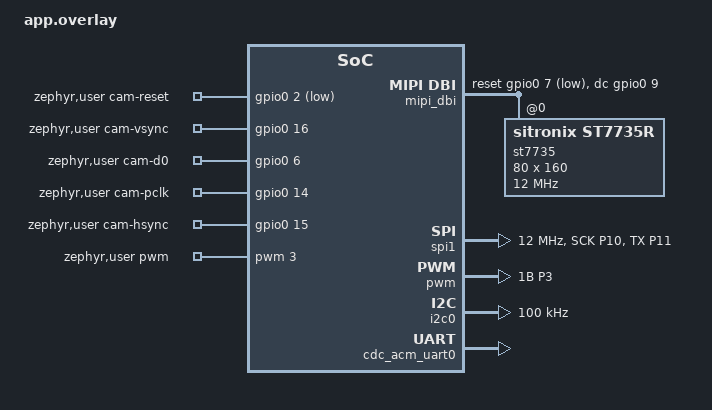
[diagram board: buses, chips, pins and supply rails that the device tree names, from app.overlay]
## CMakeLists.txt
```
# Copyright (c) 2026 Eoin Jordan
# SPDX-License-Identifier: Apache-2.0
#
# ExecuTorch digit recognition on the Arducam Pico4ML-BLE (RP2040, Cortex-M0+)
# under Zephyr. Same structure as the upstream zephyr/samples/hello-executorch
# sample: model embedded as a const array, only the operators in the .pte are
# linked.

cmake_minimum_required(VERSION 3.24)

set(CMAKE_SKIP_INSTALL_RULES ON CACHE BOOL "" FORCE)

set(ET_PTE_FILE_PATH
    "${CMAKE_CURRENT_SOURCE_DIR}/model/mnist_tiny.pte"
    CACHE FILEPATH "Path to the ExecuTorch .pte model to embed"
)
if(NOT IS_ABSOLUTE "${ET_PTE_FILE_PATH}")
  get_filename_component(
    ET_PTE_FILE_PATH "${ET_PTE_FILE_PATH}" ABSOLUTE BASE_DIR
    "${CMAKE_CURRENT_SOURCE_DIR}"
  )
endif()
if(NOT EXISTS "${ET_PTE_FILE_PATH}")
  message(FATAL_ERROR "Model not found at ET_PTE_FILE_PATH=${ET_PTE_FILE_PATH}. "
                      "Run train/train_mnist.py first or pass -DET_PTE_FILE_PATH=<file>.")
endif()

find_package(Zephyr REQUIRED HINTS $ENV{ZEPHYR_BASE})
project(executorch_pico4ml)

find_package(Python3 COMPONENTS Interpreter REQUIRED)

set(CMAKE_CXX_FLAGS
    "${CMAKE_CXX_FLAGS} -Wall -Wno-switch -Wno-float-conversion -ffunction-sections -fdata-sections"
)

if(NOT DEFINED EXECUTORCH_DIR)
  if(DEFINED ZEPHYR_EXECUTORCH_MODULE_DIR)
    set(EXECUTORCH_DIR ${ZEPHYR_EXECUTORCH_MODULE_DIR})
  else()
    message(FATAL_ERROR "ExecuTorch Zephyr module not found. Check west.yml and run west update.")
  endif()
endif()
message(STATUS "EXECUTORCH_DIR=${EXECUTORCH_DIR}")

include(${EXECUTORCH_DIR}/tools/cmake/Utils.cmake)
include(${EXECUTORCH_DIR}/backends/arm/cmake/ArmRunnerUtils.cmake)

if(NOT TARGET portable_kernels)
  set(EXECUTORCH_PORTABLE_BUILD_KERNELS_ONLY ON)
  add_subdirectory(
    ${EXECUTORCH_DIR}/kernels/portable
    ${CMAKE_CURRENT_BINARY_DIR}/executorch/kernels/portable
  )
  unset(EXECUTORCH_PORTABLE_BUILD_KERNELS_ONLY)
endif()

set(_selected_ops_libs)

arm_runner_create_selected_ops_lib(
  LIB_NAME "pico4ml_portable_ops_lib"
  FUNCTIONS_YAML "${EXECUTORCH_DIR}/kernels/portable/functions.yaml"
  OPS_FROM_MODEL "${ET_PTE_FILE_PATH}"
  KERNEL_LIBS portable_kernels
  DEPS executorch
  DTYPE_SELECTIVE_BUILD ""
)
list(APPEND _selected_ops_libs pico4ml_portable_ops_lib)

if(TARGET cortex_m_kernels)
  arm_runner_create_selected_ops_lib(
    LIB_NAME "pico4ml_cortex_m_ops_lib"
    CUSTOM_OPS_YAML "${EXECUTORCH_DIR}/backends/cortex_m/ops/operators.yaml"
    OPS_FROM_MODEL "${ET_PTE_FILE_PATH}"
    KERNEL_LIBS cortex_m_kernels
    DEPS executorch
  )
  list(APPEND _selected_ops_libs pico4ml_cortex_m_ops_lib)
endif()

set(_local_flatcc_root ${CMAKE_BINARY_DIR}/flatcc_src)
if(NOT EXISTS ${_local_flatcc_root}/CMakeLists.txt)
  file(MAKE_DIRECTORY ${_local_flatcc_root})
  execute_process(
    COMMAND ${CMAKE_COMMAND} -E copy_directory
            ${EXECUTORCH_DIR}/third-party/flatcc ${_local_flatcc_root}
  )
endif()
set(EXECUTORCH_FLATCC_SOURCE_ROOT ${_local_flatcc_root} CACHE PATH "" FORCE)
set(EXECUTORCH_FLATCC_INSTALL_ROOT ${_local_flatcc_root} CACHE PATH "" FORCE)

set(_model_pte_header ${CMAKE_CURRENT_BINARY_DIR}/model_pte.h)
add_custom_command(
  OUTPUT ${_model_pte_header}
  COMMAND ${Python3_EXECUTABLE} ${CMAKE_CURRENT_SOURCE_DIR}/scripts/pte_to_header.py
          --pte ${ET_PTE_FILE_PATH} --out ${_model_pte_header}
  DEPENDS ${ET_PTE_FILE_PATH} ${CMAKE_CURRENT_SOURCE_DIR}/scripts/pte_to_header.py
  COMMENT "Converting ${ET_PTE_FILE_PATH} to model_pte.h"
)
add_custom_target(gen_model_header DEPENDS ${_model_pte_header})
add_dependencies(app gen_model_header)

# The ExecuTorch module's runtime includes <zephyr/kernel.h>, which needs
# Zephyr's generated headers. Order it explicitly so a parallel build does not
# compile it before they exist.
if(TARGET zephyr_generated_headers)
  foreach(_t executorch_core executorch portable_kernels kernels_util_all_deps cortex_m_kernels)
    if(TARGET ${_t})
      add_dependencies(${_t} zephyr_generated_headers)
    endif()
  endforeach()
endif()

target_sources(app PRIVATE src/main.cpp)
target_sources_ifdef(CONFIG_APP_CAMERA app PRIVATE src/camera.c)
target_sources_ifdef(CONFIG_APP_SCREEN app PRIVATE src/screen.c)
target_sources_ifdef(CONFIG_APP_IMU app PRIVATE src/imu.c)


target_compile_definitions(
  app PRIVATE
  APP_METHOD_ALLOCATOR_POOL_SIZE=${CONFIG_EXECUTORCH_METHOD_ALLOCATOR_POOL_SIZE}
  APP_TEMP_ALLOCATOR_POOL_SIZE=${CONFIG_EXECUTORCH_TEMP_ALLOCATOR_POOL_SIZE}
)

target_link_libraries(app PRIVATE libexecutorch ${_selected_ops_libs})
target_include_directories(app PRIVATE src ${CMAKE_CURRENT_BINARY_DIR})
```

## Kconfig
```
# Copyright (c) 2026 Eoin Jordan
# SPDX-License-Identifier: Apache-2.0

mainmenu "ExecuTorch digit recognition on the Arducam Pico4ML-BLE"

config EXECUTORCH_METHOD_ALLOCATOR_POOL_SIZE
	int "ExecuTorch method allocator pool (bytes)"
	default 65536

config EXECUTORCH_TEMP_ALLOCATOR_POOL_SIZE
	int "ExecuTorch temp allocator pool (bytes)"
	default 8192

config APP_CAMERA
	bool "Classify frames from the HM01B0 camera"
	default y
	select PIO_RPI_PICO
	select PICOSDK_USE_PIO
	select PICOSDK_USE_DMA
	select PICOSDK_USE_GPIO
	select PICOSDK_USE_CLAIM
	select PWM
	select I2C
	help
	  Capture 162x122 (binned) grayscale frames with PIO + DMA, centre-crop,
	  downsample to 28x28, invert and normalise like MNIST, run the model
	  and show the result on the LCD.

config APP_CAM_BINNING
	bool "2x2 binning (162x122 frames instead of 324x244)"
	default y
	depends on APP_CAMERA

config APP_CAM_BIT_REVERSE
	bool "Reverse the bit order of each captured byte"
	default n
	depends on APP_CAMERA
	help
	  The HM01B0 on the Pico4ML sends each pixel MSB first, which matches
	  the PIO program, so this stays off. If the ASCII preview on the
	  console looks like random noise while "raw" spans the full range,
	  your sensor revision sends LSB first: turn this on.

config APP_CAMERA_INTERVAL_MS
	int "Delay between camera inferences (ms)"
	default 500
	depends on APP_CAMERA

config APP_SCREEN
	bool "Draw results on the ST7735 LCD"
	default y
	select DISPLAY
	select MIPI_DBI
	select SPI

config APP_IMU
	bool "Read the ICM-20948 and show tilt"
	default y
	select I2C

config APP_USB_BOOTSEL_ON_1200_BAUD
	bool "Reboot into BOOTSEL when the host opens the USB serial port at 1200 baud"
	default y
	help
	  Same convention as the pico-sdk stdio and Arduino cores, so
	  scripts/flash_pico4ml.py can reflash without touching the button.

source "Kconfig.zephyr"
```

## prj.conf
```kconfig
# Copyright (c) 2026 Eoin Jordan
# SPDX-License-Identifier: Apache-2.0

# ExecuTorch runtime, selective operator build
CONFIG_EXECUTORCH=y
CONFIG_EXECUTORCH_BUILD_PORTABLE_OPS=n
CONFIG_EXECUTORCH_ENABLE_LOGGING=y

CONFIG_CPP=y
CONFIG_STD_CPP17=y

# Cortex-M0+: no FPU, fp32 in software. Keep stacks modest, the frame buffer
# and the method pool are the big consumers of the 264 KB.
CONFIG_MAIN_STACK_SIZE=12288
CONFIG_HEAP_MEM_POOL_SIZE=16384

CONFIG_REQUIRES_FLOAT_PRINTF=y
CONFIG_PRINTK=y
CONFIG_GPIO=y

# Console on USB CDC ACM (the Pico4ML has no UART-to-USB bridge)
CONFIG_SERIAL=y
CONFIG_CONSOLE=y
CONFIG_UART_CONSOLE=y
CONFIG_UART_LINE_CTRL=y
CONFIG_USB_DEVICE_STACK_NEXT=y
CONFIG_CDC_ACM_SERIAL_INITIALIZE_AT_BOOT=y
CONFIG_CDC_ACM_SERIAL_PID=0x0004
CONFIG_CDC_ACM_SERIAL_PRODUCT_STRING="Pico4ML ExecuTorch"
```

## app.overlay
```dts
/* Copyright (c) 2026 Eoin Jordan
 * SPDX-License-Identifier: Apache-2.0
 *
 * Arducam Pico4ML-BLE on top of Zephyr's rpi_pico board:
 *   HM01B0 camera   SCCB on I2C0 (GP4 SDA, GP5 SCL) @ 0x24, RESET GP2,
 *                   XCLK GP3 (PWM 1B), VSYNC GP16, D0 GP6, PCLK GP14, HSYNC GP15
 *   ST7735S LCD     SPI1 (GP10 SCK, GP11 MOSI), CS GP13, DC GP9, RST GP7, 80x160
 *   ICM-20948 IMU   I2C0 @ 0x68
 *   Console         USB CDC ACM
 */

#include <zephyr/dt-bindings/pwm/pwm.h>

/ {
	chosen {
		zephyr,console = &cdc_acm_uart0;
		zephyr,display = &st7735;
	};

	zephyr,user {
		/* HM01B0 XCLK on GP3 = PWM slice 1 channel B = channel index 3 */
		pwms = <&pwm 3 PWM_NSEC(80) PWM_POLARITY_NORMAL>;
		cam-reset-gpios = <&gpio0 2 GPIO_ACTIVE_LOW>;
		cam-vsync-gpios = <&gpio0 16 GPIO_ACTIVE_HIGH>;
		cam-d0-gpios = <&gpio0 6 GPIO_ACTIVE_HIGH>;
		cam-pclk-gpios = <&gpio0 14 GPIO_ACTIVE_HIGH>;
		cam-hsync-gpios = <&gpio0 15 GPIO_ACTIVE_HIGH>;
	};

	mipi_dbi {
		compatible = "zephyr,mipi-dbi-spi";
		spi-dev = <&spi1>;
		dc-gpios = <&gpio0 9 GPIO_ACTIVE_HIGH>;
		reset-gpios = <&gpio0 7 GPIO_ACTIVE_LOW>;
		write-only;
		#address-cells = <1>;
		#size-cells = <0>;

		/* 0.96" 80x160 ST7735S: the panel sits at column offset 24 of the
		 * 132x162 frame memory, BGR order, 16-bit colour. */
		st7735: st7735@0 {
			compatible = "sitronix,st7735r";
			reg = <0>;
			mipi-max-frequency = <DT_FREQ_M(12)>;
			mipi-mode = "MIPI_DBI_MODE_SPI_4WIRE";
			width = <80>;
			height = <160>;
			x-offset = <24>;
			y-offset = <0>;
			madctl = <0x08>;
			colmod = <0x05>;
			caset = [00 00 00 4f];
			raset = [00 00 00 9f];
			gamctrp1 = [02 1c 07 12 37 32 29 2d 29 25 2b 39 00 01 03 10];
			gamctrn1 = [03 1d 07 06 2e 2c 29 2d 2e 2e 37 3f 00 00 02 10];
		};
	};
};

&pinctrl {
	spi1_lcd: spi1_lcd {
		group1 {
			pinmux = <SPI1_SCK_P10>, <SPI1_TX_P11>;
		};
	};

	pwm_xclk: pwm_xclk {
		group1 {
			pinmux = <PWM_1B_P3>;
		};
	};
};

&spi1 {
	status = "okay";
	pinctrl-0 = <&spi1_lcd>;
	pinctrl-names = "default";
	clock-frequency = <DT_FREQ_M(12)>;
	cs-gpios = <&gpio0 13 GPIO_ACTIVE_LOW>;
};

&pwm {
	status = "okay";
	pinctrl-0 = <&pwm_xclk>;
	pinctrl-names = "default";
	/* slice 1 runs at the 125 MHz system clock: 10 cycles = 12.5 MHz XCLK */
	divider-int-1 = <1>;
};

&i2c0 {
	status = "okay";
	clock-frequency = <I2C_BITRATE_STANDARD>;
};

&pio0 {
	status = "okay";
};

&zephyr_udc0 {
	cdc_acm_uart0: cdc_acm_uart0 {
		compatible = "zephyr,cdc-acm-uart";
	};
};
```

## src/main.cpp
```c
/* Copyright (c) 2026 Eoin Jordan
 * SPDX-License-Identifier: Apache-2.0
 *
 * ExecuTorch on the Arducam Pico4ML-BLE (RP2040) under Zephyr.
 *
 * 1. Load the .pte embedded in flash and run the MNIST test image baked into
 *    test_input.h; compare with the PyTorch logits (SELF-TEST PASS/FAIL).
 * 2. Grab frames from the HM01B0, squash them to 28x28, classify, and show
 *    the crop, the digit and the confidence on the ST7735, plus the IMU tilt.
 * 3. Print one JSON line per inference on the USB serial console.
 */

#include <executorch/extension/data_loader/buffer_data_loader.h>
#include <executorch/runtime/core/memory_allocator.h>
#include <executorch/runtime/core/span.h>
#include <executorch/runtime/executor/memory_manager.h>
#include <executorch/runtime/executor/method.h>
#include <executorch/runtime/executor/program.h>
#include <executorch/runtime/platform/log.h>
#include <executorch/runtime/platform/runtime.h>

#include <zephyr/drivers/uart.h>
#include <zephyr/kernel.h>
#include <zephyr/sys/printk.h>
#include <zephyr/version.h>

#include <cmath>
#include <cstdint>
#include <cstdio>
#include <cstring>
#include <vector>

#include "model_pte.h"
#include "test_input.h"
#ifdef CONFIG_APP_CAMERA
#include "camera.h"
#endif
#ifdef CONFIG_APP_IMU
#include "imu.h"
#endif
#ifdef CONFIG_APP_SCREEN
#include "screen.h"
#endif
#ifdef CONFIG_APP_USB_BOOTSEL_ON_1200_BAUD
#include <pico/bootrom.h>
#endif

using executorch::aten::Tensor;
using executorch::aten::TensorImpl;
using executorch::extension::BufferDataLoader;
using executorch::runtime::Error;
using executorch::runtime::EValue;
using executorch::runtime::HierarchicalAllocator;
using executorch::runtime::MemoryAllocator;
using executorch::runtime::MemoryManager;
using executorch::runtime::Method;
using executorch::runtime::MethodMeta;
using executorch::runtime::Program;
using executorch::runtime::Result;
using executorch::runtime::Span;
using executorch::runtime::TensorInfo;

/* MNIST normalisation, same constants as train/model.py */
static constexpr float kMean = 0.1307f;
static constexpr float kStd = 0.3081f;
static constexpr int kSide = 28;
static constexpr size_t kNumClasses = 10;

#ifndef APP_METHOD_ALLOCATOR_POOL_SIZE
#define APP_METHOD_ALLOCATOR_POOL_SIZE (64 * 1024)
#endif
#ifndef APP_TEMP_ALLOCATOR_POOL_SIZE
#define APP_TEMP_ALLOCATOR_POOL_SIZE (8 * 1024)
#endif

alignas(16) static uint8_t method_pool[APP_METHOD_ALLOCATOR_POOL_SIZE];
alignas(16) static uint8_t temp_pool[APP_TEMP_ALLOCATOR_POOL_SIZE];

namespace {

struct Runner {
	BufferDataLoader loader{model_pte, model_pte_len};
	MemoryAllocator method_allocator{APP_METHOD_ALLOCATOR_POOL_SIZE, method_pool};
	MemoryAllocator temp_allocator{APP_TEMP_ALLOCATOR_POOL_SIZE, temp_pool};
	std::vector<Span<uint8_t>> planned_spans;
	Program *program = nullptr;
	Method *method = nullptr;
	float *input = nullptr;
	size_t input_numel = 0;
	Tensor *input_tensor = nullptr;

	Error init();
	Error run(const float *pixels, float *logits, uint32_t *us);
};

Error Runner::init()
{
	Result<Program> program_res = Program::load(&loader);
	if (!program_res.ok()) {
		ET_LOG(Error, "Program::load failed: 0x%x", (unsigned)program_res.error());
		return program_res.error();
	}
	program = new Program(std::move(program_res.get()));

	const char *method_name = program->get_method_name(0).get();
	Result<MethodMeta> meta = program->method_meta(method_name);
	if (!meta.ok()) {
		return meta.error();
	}

	for (size_t id = 0; id < meta->num_memory_planned_buffers(); ++id) {
		size_t size = static_cast<size_t>(meta->memory_planned_buffer_size(id).get());
		uint8_t *buf = static_cast<uint8_t *>(method_allocator.allocate(size, 16));
		if (buf == nullptr) {
			ET_LOG(Error, "planned buffer %zu (%zu B) does not fit the method pool", id, size);
			return Error::MemoryAllocationFailed;
		}
		ET_LOG(Info, "planned buffer %zu: %zu bytes", id, size);
		planned_spans.push_back({buf, size});
	}

	static HierarchicalAllocator planned_memory({planned_spans.data(), planned_spans.size()});
	static MemoryManager memory_manager(&method_allocator, &planned_memory, &temp_allocator);

	Result<Method> method_res = program->load_method(method_name, &memory_manager);
	if (!method_res.ok()) {
		ET_LOG(Error, "load_method(%s) failed: 0x%x", method_name, (unsigned)method_res.error());
		return method_res.error();
	}
	method = new Method(std::move(method_res.get()));

	Result<TensorInfo> in_meta = meta->input_tensor_meta(0);
	if (!in_meta.ok()) {
		return in_meta.error();
	}
	input_numel = in_meta->nbytes() / sizeof(float);
	input = static_cast<float *>(method_allocator.allocate(in_meta->nbytes(), 16));
	if (input == nullptr) {
		return Error::MemoryAllocationFailed;
	}
	static TensorImpl impl(
		in_meta->scalar_type(), in_meta->sizes().size(),
		const_cast<TensorImpl::SizesType *>(in_meta->sizes().data()), input,
		const_cast<TensorImpl::DimOrderType *>(in_meta->dim_order().data()));
	static Tensor tensor(&impl);
	input_tensor = &tensor;

	ET_LOG(Info, "method '%s' loaded; input numel %zu; pool used %zu / %zu bytes", method_name,
	       input_numel, method_allocator.used_size(), method_allocator.size());
	return Error::Ok;
}

Error Runner::run(const float *pixels, float *logits, uint32_t *us)
{
	std::memcpy(input, pixels, input_numel * sizeof(float));
	Error err = method->set_input(EValue(*input_tensor), 0);
	if (err != Error::Ok) {
		ET_LOG(Error, "set_input failed: 0x%x", (unsigned)err);
		return err;
	}
	uint32_t t0 = k_cycle_get_32();
	err = method->execute();
	uint32_t t1 = k_cycle_get_32();
	if (err != Error::Ok) {
		ET_LOG(Error, "execute failed: 0x%x", (unsigned)err);
		return err;
	}
	*us = k_cyc_to_us_floor32(t1 - t0);

	const EValue &out = method->get_output(0);
	if (!out.isTensor()) {
		return Error::InvalidState;
	}
	const float *data = out.toTensor().const_data_ptr<float>();
	for (size_t i = 0; i < kNumClasses; ++i) {
		logits[i] = data[i];
	}
	return Error::Ok;
}

int argmax_pct(const float *logits, int *pct)
{
	int best = 0;
	float m = logits[0];
	for (size_t i = 1; i < kNumClasses; ++i) {
		if (logits[i] > m) {
			m = logits[i];
			best = (int)i;
		}
	}
	float sum = 0.f;
	for (size_t i = 0; i < kNumClasses; ++i) {
		sum += expf(logits[i] - m);
	}
	*pct = (int)lroundf(100.f / sum);
	return best;
}

/* Undo the MNIST normalisation so the embedded test image can be shown. */
void input_to_gray(const float *in, uint8_t *gray)
{
	for (int i = 0; i < kSide * kSide; ++i) {
		float v = (in[i] * kStd + kMean) * 255.f;
		gray[i] = (uint8_t)(v < 0.f ? 0.f : v > 255.f ? 255.f : v);
	}
}

void ascii_preview(const uint8_t *gray)
{
	static const char ramp[] = " .:-=+*#%@";
	for (int y = 0; y < kSide; ++y) {
		char line[kSide + 1];
		for (int x = 0; x < kSide; ++x) {
			line[x] = ramp[gray[y * kSide + x] * 9 / 255];
		}
		line[kSide] = 0;
		printk("  %s\n", line);
	}
}

#ifdef CONFIG_APP_CAMERA
/* Centre square of the frame, box-averaged to 28x28, contrast-stretched so
 * paper is 0 and the darkest ink is 255 after inversion (MNIST is white
 * strokes on black), then normalised. */
void frame_to_input(const uint8_t *frame, uint8_t *gray, float *input)
{
	const int side = CAM_H < CAM_W ? CAM_H : CAM_W;
	const int box = side / kSide;
	const int x0 = (CAM_W - box * kSide) / 2;
	const int y0 = (CAM_H - box * kSide) / 2;
	unsigned lo = 255, hi = 0;
	for (int y = 0; y < kSide; ++y) {
		for (int x = 0; x < kSide; ++x) {
			unsigned sum = 0;
			for (int by = 0; by < box; ++by) {
				const uint8_t *row = frame + (y0 + y * box + by) * CAM_W + x0 + x * box;
				for (int bx = 0; bx < box; ++bx) {
					sum += row[bx];
				}
			}
			unsigned v = sum / (box * box);
			gray[y * kSide + x] = (uint8_t)v;
			lo = v < lo ? v : lo;
			hi = v > hi ? v : hi;
		}
	}
	/* Stretch, invert, and push the paper to black with a mild threshold. */
	const unsigned range = hi > lo + 16 ? hi - lo : 16;
	for (int i = 0; i < kSide * kSide; ++i) {
		int v = 255 - (int)((gray[i] - lo) * 255u / range);
		v = v < 64 ? 0 : v; /* light paper noise -> background */
		gray[i] = (uint8_t)v;
		input[i] = (v / 255.f - kMean) / kStd;
	}
}
#endif

#ifdef CONFIG_APP_SCREEN
void show(const uint8_t *gray, const char *status, uint16_t status_color, int digit, int pct,
	  const char *imu_line)
{
	char line[16];
	screen_clear(COLOR_BLACK);
	screen_text(2, 2, "ExecuTorch", COLOR_WHITE, COLOR_BLACK);
	screen_text(2, 12, status, status_color, COLOR_BLACK);
	if (gray != nullptr) {
		screen_gray(12, 24, gray, kSide, kSide, 2);
	}
	if (digit >= 0) {
		snprintf(line, sizeof(line), "digit %d", digit);
		screen_text(2, 86, line, COLOR_YELLOW, COLOR_BLACK);
		snprintf(line, sizeof(line), "%3d%%", pct);
		screen_text(52, 86, line, COLOR_WHITE, COLOR_BLACK);
		screen_bar(2, 97, 76, 5, pct, pct >= 80 ? COLOR_GREEN : COLOR_YELLOW);
	}
	if (imu_line != nullptr) {
		screen_text(2, 112, imu_line, COLOR_GREY, COLOR_BLACK);
	}
	screen_text(2, 150, "pico4ml zephyr", COLOR_GREY, COLOR_BLACK);
	screen_flush();
}
#else
void show(const uint8_t *, const char *, uint16_t, int, int, const char *)
{
}
#define COLOR_GREEN 0
#define COLOR_RED 0
#define COLOR_YELLOW 0
#endif

void maybe_reboot_to_bootsel(const struct device *console)
{
#ifdef CONFIG_APP_USB_BOOTSEL_ON_1200_BAUD
	uint32_t baud = 0;
	if (uart_line_ctrl_get(console, UART_LINE_CTRL_BAUD_RATE, &baud) == 0 && baud == 1200) {
		printk("1200 baud seen: rebooting into BOOTSEL\n");
		k_msleep(100);
		reset_usb_boot(0, 0);
	}
#else
	(void)console;
#endif
}

} // namespace

int main(void)
{
	executorch::runtime::runtime_init();

	const struct device *const console = DEVICE_DT_GET(DT_CHOSEN(zephyr_console));
	/* Give a terminal a moment to attach so the banner is not lost. */
	for (int i = 0; i < 30; ++i) {
		uint32_t dtr = 0;
		uart_line_ctrl_get(console, UART_LINE_CTRL_DTR, &dtr);
		if (dtr) {
			break;
		}
		k_msleep(100);
	}

	printk("\nExecuTorch on %s (Zephyr %s)\n", CONFIG_BOARD_TARGET, KERNEL_VERSION_STRING);
	printk("model: %u bytes in flash, method pool %u B, temp pool %u B\n",
	       (unsigned)model_pte_len, (unsigned)APP_METHOD_ALLOCATOR_POOL_SIZE,
	       (unsigned)APP_TEMP_ALLOCATOR_POOL_SIZE);

#ifdef CONFIG_APP_SCREEN
	bool screen_ok = screen_init() == 0;
	if (screen_ok) {
		show(nullptr, "loading...", COLOR_YELLOW, -1, 0, nullptr);
	}
#endif

	static Runner runner;
	if (runner.init() != Error::Ok) {
		printk("FAIL: runtime init\n");
		show(nullptr, "RUNTIME FAIL", COLOR_RED, -1, 0, nullptr);
		return 1;
	}

	static uint8_t gray[kSide * kSide];
	static float input[kSide * kSide];
	float logits[kNumClasses];
	uint32_t us = 0;

	printk("\nself-test: MNIST test image, label %d\n", TEST_INPUT_LABEL);
	bool ok = runner.run(kTestInput, logits, &us) == Error::Ok;
	float diff = 0.f;
	int pct = 0;
	int pred = ok ? argmax_pct(logits, &pct) : -1;
	if (ok) {
		for (size_t i = 0; i < kNumClasses; ++i) {
			diff = fmaxf(diff, fabsf(logits[i] - kTestExpectedLogits[i]));
		}
		printk("  predicted %d (%d%%), expected %d, max|rp2040-pytorch|=%.1e, %u us\n", pred, pct,
		       TEST_INPUT_LABEL, (double)diff, us);
		ok = pred == TEST_INPUT_LABEL && diff < 1e-3f;
	}
	printk(ok ? "SELF-TEST PASS\n" : "SELF-TEST FAIL\n");
	input_to_gray(kTestInput, gray);
	show(gray, ok ? "SELF-TEST PASS" : "SELF-TEST FAIL", ok ? COLOR_GREEN : COLOR_RED, pred, pct,
	     nullptr);

	char imu_line[16] = {0};
#ifdef CONFIG_APP_IMU
	bool imu_ok = imu_init() == 0;
#endif
#ifdef CONFIG_APP_CAMERA
	bool cam_ok = camera_init() == 0;
	if (!cam_ok) {
		printk("camera: not available, staying on the self-test result\n");
	}
#endif

	uint32_t seq = 0;
	for (;;) {
		maybe_reboot_to_bootsel(console);

#ifdef CONFIG_APP_IMU
		if (imu_ok) {
			struct imu_sample s;
			if (imu_read(&s) == 0) {
				snprintf(imu_line, sizeof(imu_line), "g%+.1f%+.1f%+.1f", (double)s.ax,
					 (double)s.ay, (double)s.az);
			}
		}
#endif
#ifdef CONFIG_APP_CAMERA
		if (cam_ok) {
			const uint8_t *frame = camera_capture();
			if (frame == nullptr) {
				/* camera_capture() already said why */
			} else {
				uint8_t lo, hi, mean;
				camera_stats(frame, &lo, &hi, &mean);
				frame_to_input(frame, gray, input);
				if (runner.run(input, logits, &us) == Error::Ok) {
					pred = argmax_pct(logits, &pct);
					printk("{\"seq\":%u,\"digit\":%d,\"p\":%d,\"infer_us\":%u,\"raw\":[%u,%u,%u],"
					       "\"imu\":\"%s\"}\n",
					       seq, pred, pct, us, lo, hi, mean, imu_line);
					if (seq % 10 == 0) {
						ascii_preview(gray);
					}
					show(gray, "camera", COLOR_WHITE, pred, pct, imu_line[0] ? imu_line : nullptr);
				}
				seq++;
			}
		} else
#endif
		{
			show(gray, ok ? "SELF-TEST PASS" : "SELF-TEST FAIL", ok ? COLOR_GREEN : COLOR_RED,
			     pred, pct, imu_line[0] ? imu_line : nullptr);
		}
		k_msleep(CONFIG_APP_CAMERA_INTERVAL_MS);
	}
	return 0;
}
```

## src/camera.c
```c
/* Copyright (c) 2026 Eoin Jordan
 * SPDX-License-Identifier: Apache-2.0
 */
#include "camera.h"

#include <errno.h>
#include <string.h>

#include <zephyr/device.h>
#include <zephyr/drivers/gpio.h>
#include <zephyr/drivers/i2c.h>
#include <zephyr/drivers/misc/pio_rpi_pico/pio_rpi_pico.h>
#include <zephyr/drivers/pwm.h>
#include <zephyr/kernel.h>
#include <zephyr/sys/printk.h>

#include <hardware/dma.h>
#include <hardware/gpio.h>
#include <hardware/pio.h>
#include <hardware/pio_instructions.h>

/* pico-sdk defines pio0 as a macro, which would break DT_NODELABEL(pio0). */
#undef pio0
#undef pio1

#define HM01B0_ADDR 0x24

static const struct device *const i2c = DEVICE_DT_GET(DT_NODELABEL(i2c0));
static const struct device *const piodev = DEVICE_DT_GET(DT_NODELABEL(pio0));
static const struct pwm_dt_spec xclk = PWM_DT_SPEC_GET(DT_PATH(zephyr_user));
static const struct gpio_dt_spec reset_pin = GPIO_DT_SPEC_GET(DT_PATH(zephyr_user), cam_reset_gpios);
static const struct gpio_dt_spec vsync_pin = GPIO_DT_SPEC_GET(DT_PATH(zephyr_user), cam_vsync_gpios);
#define PIN_D0    DT_GPIO_PIN(DT_PATH(zephyr_user), cam_d0_gpios)
#define PIN_PCLK  DT_GPIO_PIN(DT_PATH(zephyr_user), cam_pclk_gpios)
#define PIN_HSYNC DT_GPIO_PIN(DT_PATH(zephyr_user), cam_hsync_gpios)

BUILD_ASSERT(PIN_PCLK == PIN_D0 + 8 && PIN_HSYNC == PIN_D0 + 9,
	     "PIO program waits on in-pin 8 (PCLK) and 9 (HSYNC) relative to D0");

static uint8_t frame[CAM_W * CAM_H];
static PIO pio;
static size_t sm;
static uint prog_offset;
static int dma_ch = -1;

struct reg {
	uint16_t addr;
	uint8_t val;
};

/* 324x244 QVGA window, 1-bit serial output, 8-bit per pixel; register
 * sequence after Arducam's RPI-Pico-Cam hm01b0_init.h. */
static const struct reg hm01b0_init[] = {
	{0x0103, 0x00}, {0x0100, 0x00}, {0x1003, 0x08}, {0x1007, 0x08}, {0x3044, 0x0A},
	{0x3045, 0x00}, {0x3047, 0x0A}, {0x3050, 0xC0}, {0x3051, 0x42}, {0x3052, 0x50},
	{0x3053, 0x00}, {0x3054, 0x03}, {0x3055, 0xF7}, {0x3056, 0xF8}, {0x3057, 0x29},
	{0x3058, 0x1F}, {0x3059, 0x1E}, {0x3064, 0x00}, {0x3065, 0x04}, {0x1000, 0x43},
	{0x1001, 0x40}, {0x1002, 0x32}, {0x0350, 0x7F}, {0x1006, 0x01}, {0x1008, 0x00},
	{0x1009, 0xA0}, {0x100A, 0x60}, {0x100B, 0x90}, {0x100C, 0x40}, {0x3022, 0x01},
	{0x1012, 0x01}, {0x2000, 0x07}, {0x2003, 0x00}, {0x2004, 0x1C}, {0x2007, 0x00},
	{0x2008, 0x58}, {0x200B, 0x00}, {0x200C, 0x7A}, {0x200F, 0x00}, {0x2010, 0xB8},
	{0x2013, 0x00}, {0x2014, 0x58}, {0x2017, 0x00}, {0x2018, 0x9B}, {0x2100, 0x01},
	{0x2101, 0x5F}, {0x2102, 0x0A}, {0x2103, 0x03}, {0x2104, 0x05}, {0x2105, 0x02},
	{0x2106, 0x14}, {0x2107, 0x02}, {0x2108, 0x03}, {0x2109, 0x03}, {0x210A, 0x00},
	{0x210B, 0x80}, {0x210C, 0x40}, {0x210D, 0x20}, {0x210E, 0x03}, {0x210F, 0x00},
	{0x2110, 0x85}, {0x2111, 0x00}, {0x2112, 0xA0}, {0x2150, 0x03}, {0x0340, 0x01},
	{0x0341, 0x7A}, {0x0342, 0x01}, {0x0343, 0x77}, {0x3010, 0x00}, {0x0383, 0x01},
	{0x0387, 0x01}, {0x0390, 0x00}, {0x3011, 0x70}, {0x3059, 0x22}, {0x3060, 0x30},
	{0x0101, 0x01}, {0x0104, 0x01},
#ifdef CONFIG_APP_CAM_BINNING
	/* 2x2 binning: 162x122 frames, a quarter of the RAM and four times the rate. */
	{0x0383, 0x03}, {0x0387, 0x03}, {0x0390, 0x03},
#endif
	{0x0100, 0x01},
};

static int reg_write(uint16_t addr, uint8_t val)
{
	uint8_t buf[3] = {(uint8_t)(addr >> 8), (uint8_t)addr, val};
	return i2c_write(i2c, buf, sizeof(buf), HM01B0_ADDR);
}

static int reg_read(uint16_t addr, uint8_t *val)
{
	uint8_t a[2] = {(uint8_t)(addr >> 8), (uint8_t)addr};
	return i2c_write_read(i2c, HM01B0_ADDR, a, sizeof(a), val, 1);
}

int camera_init(void)
{
	if (!device_is_ready(i2c) || !device_is_ready(piodev) || !pwm_is_ready_dt(&xclk) ||
	    !gpio_is_ready_dt(&reset_pin) || !gpio_is_ready_dt(&vsync_pin)) {
		printk("camera: a device is not ready\n");
		return -ENODEV;
	}

	/* XCLK: 125 MHz / 10 = 12.5 MHz, 30 % duty, like Arducam's PWM setup. */
	int ret = pwm_set_cycles(xclk.dev, xclk.channel, 10, 3, xclk.flags);
	if (ret != 0) {
		printk("camera: xclk pwm %d\n", ret);
		return ret;
	}

	gpio_pin_configure_dt(&reset_pin, GPIO_OUTPUT_ACTIVE); /* active low: held in reset */
	gpio_pin_configure_dt(&vsync_pin, GPIO_INPUT);
	k_msleep(100);
	gpio_pin_set_dt(&reset_pin, 0);
	k_msleep(100);

	uint8_t id[2] = {0, 0};
	ret = reg_read(0x0000, &id[0]);
	if (ret == 0) {
		ret = reg_read(0x0001, &id[1]);
	}
	if (ret != 0 || id[0] != 0x01 || id[1] != 0xB0) {
		printk("camera: HM01B0 not found (i2c %d, id %02x%02x)\n", ret, id[0], id[1]);
		return ret != 0 ? ret : -ENODEV;
	}
	for (size_t i = 0; i < ARRAY_SIZE(hm01b0_init); i++) {
		ret = reg_write(hm01b0_init[i].addr, hm01b0_init[i].val);
		if (ret != 0) {
			printk("camera: reg 0x%04x write failed (%d)\n", hm01b0_init[i].addr, ret);
			return ret;
		}
	}

	/* PIO: wait 1 pin 9 (HSYNC); wait 1 pin 8 (PCLK); in pins, 1; wait 0 pin 8. */
	static uint16_t instr[4];
	instr[0] = pio_encode_wait_pin(true, 9);
	instr[1] = pio_encode_wait_pin(true, 8);
	instr[2] = pio_encode_in(pio_pins, 1);
	instr[3] = pio_encode_wait_pin(false, 8);
	static const struct pio_program prog = {.instructions = instr, .length = 4, .origin = -1};

	pio = pio_rpi_pico_get_pio(piodev);
	ret = pio_rpi_pico_allocate_sm(piodev, &sm);
	if (ret != 0 || !pio_can_add_program(pio, &prog)) {
		printk("camera: no PIO state machine / program space\n");
		return -EBUSY;
	}
	uint offset = pio_add_program(pio, &prog);
	prog_offset = offset;
	pio_gpio_init(pio, PIN_D0);
	pio_gpio_init(pio, PIN_PCLK);
	pio_gpio_init(pio, PIN_HSYNC);
	pio_sm_set_consecutive_pindirs(pio, sm, PIN_D0, 1, false);
	pio_sm_set_consecutive_pindirs(pio, sm, PIN_PCLK, 2, false);

	pio_sm_config c = pio_get_default_sm_config();
	sm_config_set_wrap(&c, offset, offset + 3);
	sm_config_set_in_pins(&c, PIN_D0);
	sm_config_set_in_shift(&c, false, true, 8); /* shift left, autopush every 8 bits */
	sm_config_set_fifo_join(&c, PIO_FIFO_JOIN_RX);
	pio_sm_init(pio, sm, offset, &c);

	dma_ch = dma_claim_unused_channel(false);
	if (dma_ch < 0) {
		printk("camera: no free DMA channel\n");
		return -EBUSY;
	}
	printk("camera: HM01B0 ready, %ux%u, PIO sm %u, DMA ch %d\n", CAM_W, CAM_H, (unsigned)sm, dma_ch);
	return 0;
}

static bool wait_vsync(int level)
{
	int64_t deadline = k_uptime_get() + 1000;
	while (gpio_pin_get_dt(&vsync_pin) != level) {
		if (k_uptime_get() > deadline) {
			return false;
		}
	}
	return true;
}

const uint8_t *camera_capture(void)
{
	if (dma_ch < 0) {
		return NULL;
	}
	dma_channel_config c = dma_channel_get_default_config(dma_ch);
	channel_config_set_read_increment(&c, false);
	channel_config_set_write_increment(&c, true);
	channel_config_set_dreq(&c, pio_get_dreq(pio, sm, false));
	channel_config_set_transfer_data_size(&c, DMA_SIZE_8);
	dma_channel_configure(dma_ch, &c, frame, &pio->rxf[sm], sizeof(frame), false);

	/* Start on the rising edge of VSYNC so the DMA sees a whole frame. */
	if (!wait_vsync(0) || !wait_vsync(1)) {
		printk("camera: no VSYNC edge (pin stuck at %d); sensor not streaming\n",
		       gpio_pin_get_dt(&vsync_pin));
		return NULL;
	}
	pio_sm_clear_fifos(pio, sm);
	pio_sm_restart(pio, sm);
	pio_sm_exec(pio, sm, pio_encode_jmp(prog_offset));
	dma_channel_start(dma_ch);
	pio_sm_set_enabled(pio, sm, true);

	int64_t deadline = k_uptime_get() + 1000;
	while (dma_channel_is_busy(dma_ch)) {
		if (k_uptime_get() > deadline) {
			printk("camera: DMA stalled with %u bytes left (PCLK/HSYNC not toggling?)\n",
			       (unsigned)dma_channel_hw_addr(dma_ch)->transfer_count);
			dma_channel_abort(dma_ch);
			pio_sm_set_enabled(pio, sm, false);
			return NULL;
		}
		k_yield();
	}
	pio_sm_set_enabled(pio, sm, false);

#ifdef CONFIG_APP_CAM_BIT_REVERSE
	/* For sensor revisions that send the low bit first (not this one). */
	static uint8_t rev[256];
	if (rev[1] == 0) {
		for (unsigned v = 0; v < 256; v++) {
			unsigned r = 0;
			for (int b = 0; b < 8; b++) {
				r |= ((v >> b) & 1u) << (7 - b);
			}
			rev[v] = (uint8_t)r;
		}
	}
	for (size_t i = 0; i < sizeof(frame); i++) {
		frame[i] = rev[frame[i]];
	}
#endif
	return frame;
}

void camera_stats(const uint8_t *f, uint8_t *min, uint8_t *max, uint8_t *mean)
{
	uint32_t sum = 0;
	uint8_t lo = 255, hi = 0;
	for (size_t i = 0; i < (size_t)CAM_W * CAM_H; i++) {
		uint8_t v = f[i];
		sum += v;
		lo = v < lo ? v : lo;
		hi = v > hi ? v : hi;
	}
	*min = lo;
	*max = hi;
	*mean = (uint8_t)(sum / ((size_t)CAM_W * CAM_H));
}
```

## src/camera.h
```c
/* Copyright (c) 2026 Eoin Jordan
 * SPDX-License-Identifier: Apache-2.0
 *
 * HM01B0 on the Pico4ML, captured through PIO + DMA the way Arducam's
 * RPI-Pico-Cam does it: the sensor is set to its 1-bit serial output, one PIO
 * state machine clocks a bit in on every PCLK while HSYNC is high and pushes
 * a byte per pixel into its FIFO, and a DMA channel drains the FIFO into RAM.
 *
 * Pins (Pico4ML, from the devicetree zephyr,user node):
 *   SIOC GP5 / SIOD GP4   SCCB (I2C0), address 0x24
 *   RESET GP2             active low
 *   XCLK GP3              PWM, 12.5 MHz
 *   VSYNC GP16            GPIO input
 *   D0 GP6, PCLK GP14, HSYNC GP15   PIO inputs (PCLK/HSYNC must be D0+8/D0+9)
 */
#pragma once

#include <stdint.h>

#ifdef __cplusplus
extern "C" {
#endif

#ifdef CONFIG_APP_CAM_BINNING
#define CAM_W 162
#define CAM_H 122
#else
#define CAM_W 324
#define CAM_H 244
#endif

/* Returns 0, or -errno if the sensor does not answer or PIO is unavailable. */
int camera_init(void);

/* Captures one grayscale frame into the internal buffer and returns it.
 * NULL on timeout (no VSYNC within a second). */
const uint8_t *camera_capture(void);

/* Raw frame statistics, for telling a dark scene from a dead capture. */
void camera_stats(const uint8_t *frame, uint8_t *min, uint8_t *max, uint8_t *mean);

#ifdef __cplusplus
}
#endif
```

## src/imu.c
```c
/* Copyright (c) 2026 Eoin Jordan
 * SPDX-License-Identifier: Apache-2.0
 *
 * TDK IMU on the Pico4ML's I2C0 (GP4 SDA, GP5 SCL), address 0x68. The
 * product pages say ICM-20948; the board on my desk answers as an ICM-42602
 * (WHO_AM_I 0x41), so probe for both families and speak the matching map.
 */
#include "imu.h"

#include <errno.h>

#include <zephyr/device.h>
#include <zephyr/drivers/i2c.h>
#include <zephyr/kernel.h>
#include <zephyr/sys/byteorder.h>
#include <zephyr/sys/printk.h>

static const struct device *const bus = DEVICE_DT_GET(DT_NODELABEL(i2c0));

enum part { PART_NONE, PART_ICM20948, PART_ICM4262X };
static enum part part;
static uint8_t addr;

/* ICM-20948 (bank 0) */
#define ICM20948_WHO_AM_I   0x00 /* 0xEA */
#define ICM20948_PWR_MGMT_1 0x06
#define ICM20948_ACCEL_XOUT 0x2D
#define ICM20948_BANK_SEL   0x7F

/* ICM-42622 / 42605 family (bank 0) */
#define ICM4262X_WHO_AM_I   0x75 /* 0x46 for ICM-42622, 0x42 for ICM-42605 */
#define ICM4262X_PWR_MGMT0  0x4E
#define ICM4262X_ACCEL_X1   0x1F /* 6 bytes accel, 6 bytes gyro follow */

static int rd(uint8_t reg, uint8_t *val)
{
	return i2c_reg_read_byte(bus, addr, reg, val);
}

static int wr(uint8_t reg, uint8_t val)
{
	return i2c_reg_write_byte(bus, addr, reg, val);
}

int imu_init(void)
{
	if (!device_is_ready(bus)) {
		return -ENODEV;
	}
	static const uint8_t addrs[] = {0x68, 0x69};
	for (size_t i = 0; i < ARRAY_SIZE(addrs) && part == PART_NONE; i++) {
		uint8_t who75 = 0xFF, who00 = 0xFF;
		addr = addrs[i];
		int r75 = rd(ICM4262X_WHO_AM_I, &who75);
		/* 0x41 ICM-42602 (what this Pico4ML-BLE has), 0x42 ICM-42605, 0x46 ICM-42622,
		 * 0x47 ICM-42688, 0x67 ICM-42670 */
		if (r75 == 0 && (who75 == 0x41 || who75 == 0x42 || who75 == 0x46 || who75 == 0x47 ||
				 who75 == 0x67)) {
			part = PART_ICM4262X;
			printk("imu: ICM-4262x family (WHO_AM_I 0x%02x) at 0x%02x\n", who75, addr);
			break;
		}
		int r00 = wr(ICM20948_BANK_SEL, 0x00);
		if (r00 == 0) {
			r00 = rd(ICM20948_WHO_AM_I, &who00);
		}
		if (r00 == 0 && who00 == 0xEA) {
			part = PART_ICM20948;
			printk("imu: ICM-20948 at 0x%02x\n", addr);
			break;
		}
		printk("imu: 0x%02x: reg 0x75 -> %d/0x%02x, reg 0x00 -> %d/0x%02x\n", addr, r75, who75,
		       r00, who00);
	}
	if (part == PART_NONE) {
		printk("imu: no known TDK IMU on i2c0\n");
		return -ENODEV;
	}
	if (part == PART_ICM20948) {
		wr(ICM20948_PWR_MGMT_1, 0x80); /* reset */
		k_msleep(20);
		wr(ICM20948_PWR_MGMT_1, 0x01); /* wake, auto clock */
	} else {
		wr(ICM4262X_PWR_MGMT0, 0x0F); /* accel + gyro in low-noise mode */
	}
	k_msleep(50);
	printk("imu: ready (accel +-%s, gyro +-%s)\n", part == PART_ICM20948 ? "2 g" : "16 g",
	       part == PART_ICM20948 ? "250 dps" : "2000 dps");
	return 0;
}

int imu_read(struct imu_sample *out)
{
	uint8_t raw[12];
	uint8_t reg = part == PART_ICM20948 ? ICM20948_ACCEL_XOUT : ICM4262X_ACCEL_X1;
	int ret = i2c_burst_read(bus, addr, reg, raw, sizeof(raw));
	if (ret != 0) {
		return ret;
	}
	int16_t v[6];
	for (int i = 0; i < 6; i++) {
		v[i] = (int16_t)sys_get_be16(&raw[2 * i]);
	}
	/* ICM-20948 defaults: +-2 g (16384 LSB/g), +-250 dps (131 LSB/dps).
	 * ICM-4262x defaults: +-16 g (2048 LSB/g), +-2000 dps (16.4 LSB/dps). */
	float acc_lsb = part == PART_ICM20948 ? 16384.f : 2048.f;
	float gyr_lsb = part == PART_ICM20948 ? 131.f : 16.4f;
	out->ax = v[0] / acc_lsb;
	out->ay = v[1] / acc_lsb;
	out->az = v[2] / acc_lsb;
	out->gx = v[3] / gyr_lsb;
	out->gy = v[4] / gyr_lsb;
	out->gz = v[5] / gyr_lsb;
	return 0;
}
```

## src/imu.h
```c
/* Copyright (c) 2026 Eoin Jordan
 * SPDX-License-Identifier: Apache-2.0
 *
 * ICM-20948 on the Pico4ML-BLE: I2C0 (GP4 SDA, GP5 SCL), address 0x68,
 * shared with the camera's SCCB. Zephyr v4.4 has no driver for this part, so
 * this is the minimum: wake it, read accel + gyro from bank 0.
 */
#pragma once

#include <stdbool.h>
#include <stdint.h>

#ifdef __cplusplus
extern "C" {
#endif

struct imu_sample {
	float ax, ay, az; /* g */
	float gx, gy, gz; /* deg/s */
};

/* Returns 0 if WHO_AM_I answered 0xEA and the part is awake. */
int imu_init(void);
int imu_read(struct imu_sample *out);

#ifdef __cplusplus
}
#endif
```

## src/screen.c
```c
/* Copyright (c) 2026 Eoin Jordan
 * SPDX-License-Identifier: Apache-2.0
 */
#include "screen.h"

#include <errno.h>
#include <string.h>

#include <zephyr/device.h>
#include <zephyr/drivers/display.h>
#include <zephyr/kernel.h>
#include <zephyr/sys/printk.h>

#include "font6x8.h"

static const struct device *const disp = DEVICE_DT_GET(DT_CHOSEN(zephyr_display));
static uint16_t fb[SCREEN_W * SCREEN_H];
static bool ready;
static bool swap_bytes;

/* The panel wants the high byte first on the wire. With PIXEL_FORMAT_RGB_565X
 * (what the st7735r driver reports) the buffer holds big-endian RGB565, so
 * swap here; with RGB_565 the driver does it. */
static inline uint16_t pack(uint16_t c)
{
	return swap_bytes ? (uint16_t)((c << 8) | (c >> 8)) : c;
}

static inline void put(int x, int y, uint16_t c)
{
	if (x >= 0 && y >= 0 && x < SCREEN_W && y < SCREEN_H) {
		fb[y * SCREEN_W + x] = pack(c);
	}
}

int screen_init(void)
{
	if (!device_is_ready(disp)) {
		printk("screen: display not ready\n");
		return -ENODEV;
	}
	struct display_capabilities caps;
	display_get_capabilities(disp, &caps);
	printk("screen: %ux%u, pixel format 0x%x\n", caps.x_resolution, caps.y_resolution,
	       caps.current_pixel_format);
	if (caps.current_pixel_format == PIXEL_FORMAT_RGB_565X) {
		swap_bytes = true;
	} else if (caps.current_pixel_format != PIXEL_FORMAT_RGB_565) {
		int ret = display_set_pixel_format(disp, PIXEL_FORMAT_RGB_565);
		if (ret != 0) {
			printk("screen: no 16-bit colour mode (%d)\n", ret);
			return ret;
		}
	}
	ready = true;
	screen_clear(COLOR_BLACK);
	screen_flush();
	display_blanking_off(disp);
	return 0;
}

void screen_clear(uint16_t color)
{
	uint16_t c = pack(color);
	for (size_t i = 0; i < SCREEN_W * SCREEN_H; i++) {
		fb[i] = c;
	}
}

void screen_text(int x, int y, const char *s, uint16_t fg, uint16_t bg)
{
	for (; *s; s++, x += FONT_W) {
		unsigned c = (unsigned char)*s;
		if (c < FONT_FIRST || c > FONT_LAST) {
			c = '?';
		}
		const uint8_t *g = kFont6x8[c - FONT_FIRST];
		for (int cx = 0; cx < FONT_W; cx++) {
			for (int cy = 0; cy < FONT_H; cy++) {
				put(x + cx, y + cy, (g[cx] >> cy) & 1 ? fg : bg);
			}
		}
	}
}

void screen_gray(int x, int y, const uint8_t *img, int w, int h, int scale)
{
	for (int iy = 0; iy < h; iy++) {
		for (int ix = 0; ix < w; ix++) {
			uint8_t v = img[iy * w + ix];
			uint16_t c = RGB565(v, v, v);
			for (int sy = 0; sy < scale; sy++) {
				for (int sx = 0; sx < scale; sx++) {
					put(x + ix * scale + sx, y + iy * scale + sy, c);
				}
			}
		}
	}
}

void screen_bar(int x, int y, int w, int h, int percent, uint16_t color)
{
	if (percent < 0) {
		percent = 0;
	} else if (percent > 100) {
		percent = 100;
	}
	int fill = w * percent / 100;
	for (int iy = 0; iy < h; iy++) {
		for (int ix = 0; ix < w; ix++) {
			put(x + ix, y + iy, ix < fill ? color : COLOR_GREY);
		}
	}
}

void screen_flush(void)
{
	if (!ready) {
		return;
	}
	struct display_buffer_descriptor desc = {
		.buf_size = sizeof(fb),
		.width = SCREEN_W,
		.height = SCREEN_H,
		.pitch = SCREEN_W,
	};
	int ret = display_write(disp, 0, 0, &desc, fb);
	if (ret != 0) {
		printk("screen: display_write %d\n", ret);
	}
}
```

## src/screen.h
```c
/* Copyright (c) 2026 Eoin Jordan
 * SPDX-License-Identifier: Apache-2.0
 *
 * The Pico4ML's 0.96" ST7735S (80 x 160, portrait) through Zephyr's display
 * API. One RGB565 framebuffer in RAM, pushed with display_write().
 */
#pragma once

#include <stdbool.h>
#include <stdint.h>

#ifdef __cplusplus
extern "C" {
#endif

#define SCREEN_W 80
#define SCREEN_H 160

#define RGB565(r, g, b) ((uint16_t)((((r) & 0xF8) << 8) | (((g) & 0xFC) << 3) | ((b) >> 3)))
#define COLOR_BLACK  RGB565(0, 0, 0)
#define COLOR_WHITE  RGB565(255, 255, 255)
#define COLOR_GREEN  RGB565(40, 220, 90)
#define COLOR_RED    RGB565(240, 60, 60)
#define COLOR_YELLOW RGB565(240, 200, 60)
#define COLOR_GREY   RGB565(110, 110, 120)

int screen_init(void);
void screen_clear(uint16_t color);
void screen_text(int x, int y, const char *s, uint16_t fg, uint16_t bg);
/* 8-bit grayscale image, drawn with integer scale (28x28 at scale 2 = 56x56). */
void screen_gray(int x, int y, const uint8_t *img, int w, int h, int scale);
void screen_bar(int x, int y, int w, int h, int percent, uint16_t color);
/* Push the framebuffer to the panel. */
void screen_flush(void);

#ifdef __cplusplus
}
#endif
```
